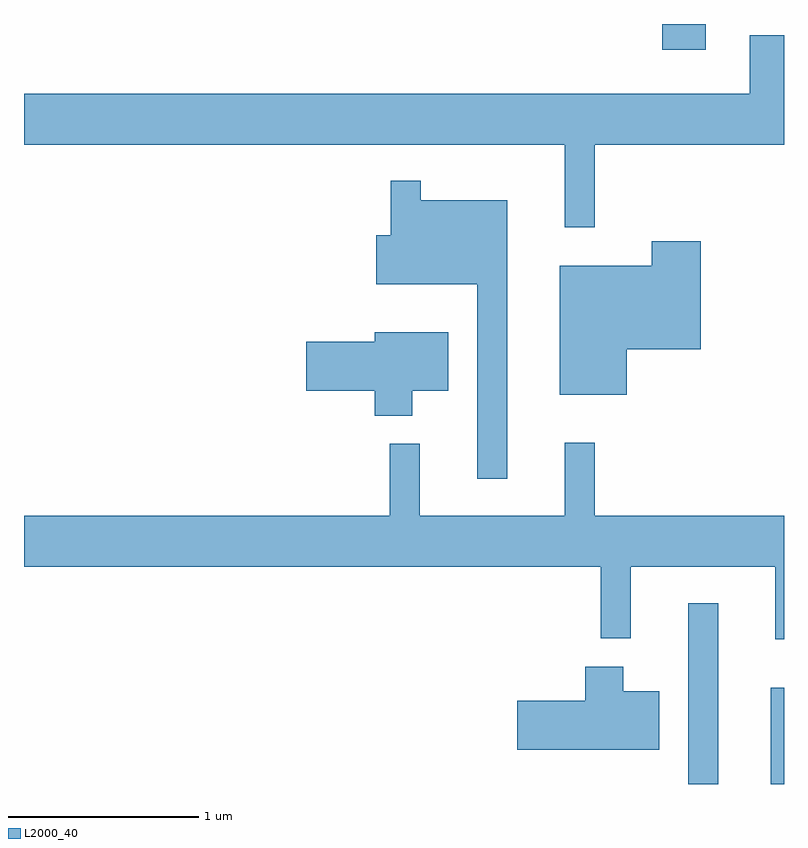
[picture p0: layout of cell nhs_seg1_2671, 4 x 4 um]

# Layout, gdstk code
import gdstk
lib = gdstk.Library(unit=1e-6, precision=1e-09)
def R(c, l, rs):  # rectangles x0, y0, x1, y1
    for r in rs: c.add(gdstk.rectangle(r[:2], r[2:], *l))
def P(c, l, *ps):  # polygons
    for p in ps: c.add(gdstk.Polygon(p, *l))
L2000_40 = (2000, 40)

nhs_seg1_2671 = lib.new_cell('nhs_seg1_2671')
R(nhs_seg1_2671, L2000_40, [(269.106,951.712,269.264,952.663), (269.541,951.712,269.611,952.219), (268.971,955.576,269.199,955.712)])
P(nhs_seg1_2671, L2000_40, [(268.614,955.076),(269.611,955.076),(269.611,955.654),(269.431,955.654),(269.431,955.344),(265.611,955.344),(265.611,955.076),(268.456,955.076),(268.456,954.643),(268.614,954.643)],
  [(268.154,954.784),(267.699,954.784),(267.699,954.888),(267.541,954.888),(267.541,954.599),(267.466,954.599),(267.466,954.341),(267.996,954.341),(267.996,953.318),(268.154,953.318)],
  [(268.784,954.001),(269.174,954.001),(269.174,954.569),(268.916,954.569),(268.916,954.439),(268.431,954.439),(268.431,953.761),(268.784,953.761)],
  [(267.654,953.781),(267.844,953.781),(267.844,954.089),(267.456,954.089),(267.456,954.039),(267.096,954.039),(267.096,953.781),(267.456,953.781),(267.456,953.651),(267.654,953.651)],
  [(269.611,953.124),(268.614,953.124),(268.614,953.508),(268.456,953.508),(268.456,953.124),(267.694,953.124),(267.694,953.503),(267.536,953.503),(267.536,953.124),(265.611,953.124),(265.611,952.856),(268.646,952.856),(268.646,952.478),(268.804,952.478),(268.804,952.856),(269.566,952.856),(269.566,952.473),(269.611,952.473)],
  [(268.954,952.199),(268.764,952.199),(268.764,952.329),(268.566,952.329),(268.566,952.149),(268.206,952.149),(268.206,951.891),(268.954,951.891)])

lib.write_gds('nhs_seg1_2671.gds')
